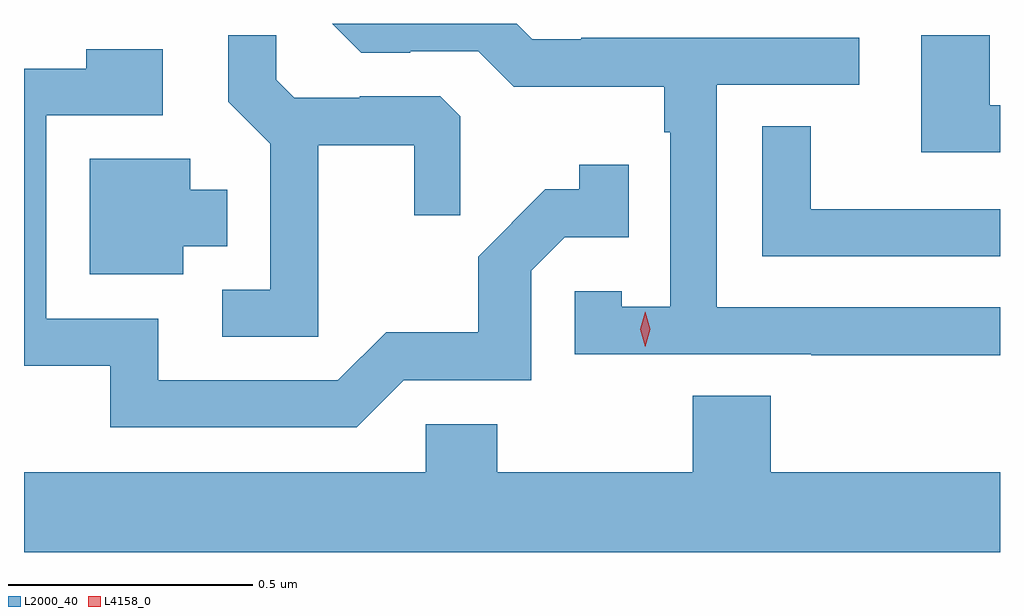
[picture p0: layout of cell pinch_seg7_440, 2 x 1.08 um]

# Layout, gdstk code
import gdstk
lib = gdstk.Library(unit=1e-6, precision=1e-09)
def P(c, l, *ps):  # polygons
    for p in ps: c.add(gdstk.Polygon(p, *l))
L2000_40 = (2000, 40)
L4158_0 = (4158, 0)

pinch_seg7_440 = lib.new_cell('pinch_seg7_440')
P(pinch_seg7_440, L2000_40, [(338.344,1065.054),(337.764,1065.054),(337.764,1065.51),(338.056,1065.51),(338.056,1065.606),(337.486,1065.606),(337.486,1065.603),(337.386,1065.603),(337.354,1065.635),(336.976,1065.635),(337.035,1065.576),(337.136,1065.576),(337.136,1065.579),(337.275,1065.579),(337.348,1065.506),(337.656,1065.506),(337.656,1065.413),(337.668,1065.413),(337.668,1065.055),(337.569,1065.055),(337.569,1065.087),(337.473,1065.087),(337.473,1064.958),(337.957,1064.958),(337.957,1064.956),(338.344,1064.956)],
  [(336.947,1065.386),(337.144,1065.386),(337.144,1065.243),(337.238,1065.243),(337.238,1065.445),(337.197,1065.486),(337.032,1065.486),(337.032,1065.483),(336.898,1065.483),(336.861,1065.52),(336.861,1065.611),(336.763,1065.611),(336.763,1065.475),(336.849,1065.389),(336.849,1065.09),(336.75,1065.09),(336.75,1064.994),(336.947,1064.994)],
  [(338.344,1065.468),(338.323,1065.468),(338.323,1065.611),(338.183,1065.611),(338.183,1065.372),(338.344,1065.372)],
  [(337.122,1064.904),(337.383,1064.904),(337.383,1065.129),(337.452,1065.198),(337.583,1065.198),(337.583,1065.346),(337.482,1065.346),(337.482,1065.296),(337.412,1065.296),(337.275,1065.158),(337.275,1065.003),(337.086,1065.003),(336.987,1064.904),(336.619,1064.904),(336.619,1065.03),(336.39,1065.03),(336.39,1065.447),(336.628,1065.447),(336.628,1065.583),(336.472,1065.583),(336.472,1065.543),(336.344,1065.543),(336.344,1064.934),(336.521,1064.934),(336.521,1064.808),(337.026,1064.808)],
  [(338.344,1065.255),(337.956,1065.255),(337.956,1065.425),(337.857,1065.425),(337.857,1065.159),(338.344,1065.159)],
  [(336.67,1065.179),(336.76,1065.179),(336.76,1065.295),(336.685,1065.295),(336.685,1065.358),(336.479,1065.358),(336.479,1065.122),(336.67,1065.122)],
  [(338.344,1064.716),(337.874,1064.716),(337.874,1064.873),(337.714,1064.873),(337.714,1064.716),(337.314,1064.716),(337.314,1064.814),(337.167,1064.814),(337.167,1064.716),(336.344,1064.716),(336.344,1064.552),(338.344,1064.552)])
P(pinch_seg7_440, L4158_0, [(337.617,1064.973),(337.617,1064.973),(337.607,1065.009),(337.617,1065.045),(337.617,1065.045),(337.617,1065.045),(337.627,1065.009),(337.617,1064.973)])

lib.write_gds('pinch_seg7_440.gds')
